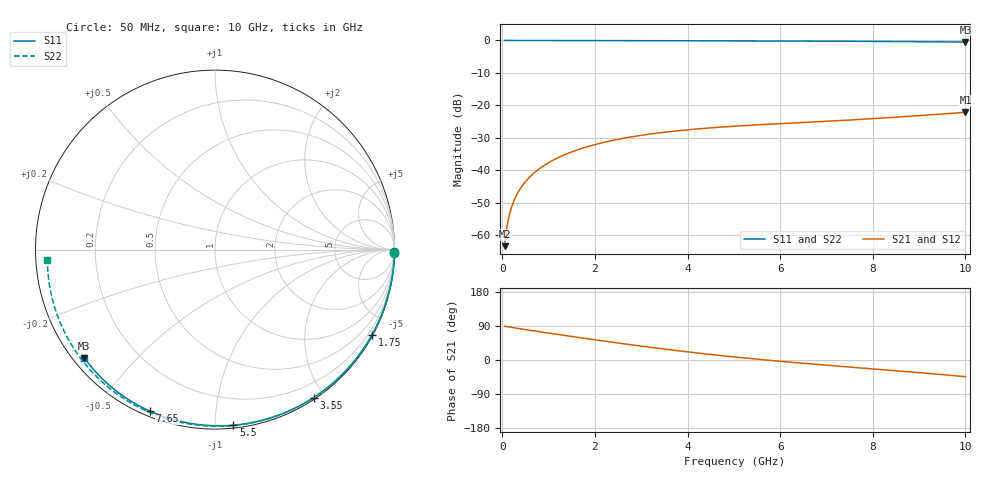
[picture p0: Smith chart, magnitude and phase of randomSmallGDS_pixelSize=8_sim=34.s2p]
! freq	dB(S11)	phase(S11)	dB(S12)	phase(S12)
!  dB(S21)	phase(S21)	dB(S22)	phase(S22)
!S-par simulation data
#  GHz  S  DB  R 50
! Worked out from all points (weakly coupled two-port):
!   200 points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, 50 MHz to 10 GHz, reference 50 ohm
!   highest |S21| = -22.17 dB at 10 GHz (marker M1); lowest = -63.5 dB at 50 MHz (marker M2)
!   lowest |S11| = -0.5 dB at 10 GHz (marker M3), VSWR 35.73, Z = 1.58 - j18 ohm
!   |S11| at or under -10 dB: nowhere
!   |S22| runs from -0.6 to 0.0 dB; largest |S21 - S12| = 0
!   S11 on the Smith chart (normalised r, x): 50 MHz: open; 1.75 GHz: 0.04, -3.94; 3.55 GHz: 0.02, -1.87; 5.5 GHz: 0.02, -1.11; 7.65 GHz: 0.02, -0.68; 10 GHz: 0.03, -0.36
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0.05  -0.00 -0.8  -63.45 89.0  -63.45 89.0  -0.00 -1.1
0.1  -0.00 -1.7  -57.44 88.0  -57.44 88.0  -0.00 -2.1
0.15  -0.00 -2.5  -53.93 86.9  -53.93 86.9  -0.00 -3.2
0.2  -0.00 -3.3  -51.44 86.0  -51.44 86.0  -0.00 -4.2
0.25  -0.00 -4.1  -49.51 85.0  -49.51 85.0  -0.00 -5.3
0.35  -0.00 -5.8  -46.61 83.0  -46.61 83.0  -0.01 -7.4
0.5  -0.01 -8.3  -43.56 80.2  -43.56 80.2  -0.01 -10.6
0.7  -0.01 -11.5  -40.70 76.5  -40.70 76.5  -0.02 -14.7
1  -0.02 -16.4  -37.69 71.1  -37.69 71.1  -0.03 -21.0
1.35  -0.03 -22.1  -35.22 64.7  -35.22 64.7  -0.04 -28.1
1.75  -0.04 -28.5  -33.15 57.6  -33.15 57.6  -0.05 -36.3
2.6  -0.06 -41.9  -30.22 43.1  -30.22 43.1  -0.07 -53.1
3.4  -0.08 -54.1  -28.48 30.4  -28.48 30.4  -0.10 -68.2
3.55  -0.08 -56.3  -28.22 28.1  -28.22 28.1  -0.10 -71.0
4.3  -0.10 -67.3  -27.19 17.3  -27.19 17.3  -0.13 -84.5
5.05  -0.13 -77.9  -26.42 7.6  -26.42 7.6  -0.16 -97.4
5.5  -0.14 -84.1  -26.04 2.2  -26.04 2.2  -0.18 -105.0
6.7  -0.20 -99.9  -25.16 -10.7  -25.16 -10.7  -0.25 -124.3
7.65  -0.26 -111.9  -24.42 -20.0  -24.42 -20.0  -0.32 -139.2
8.35  -0.32 -120.5  -23.81 -26.7  -23.81 -26.7  -0.38 -150.1
9.2  -0.40 -130.8  -22.99 -35.3  -22.99 -35.3  -0.47 -163.5
10  -0.49 -140.3  -22.17 -44.0  -22.17 -44.0  -0.57 -176.3
